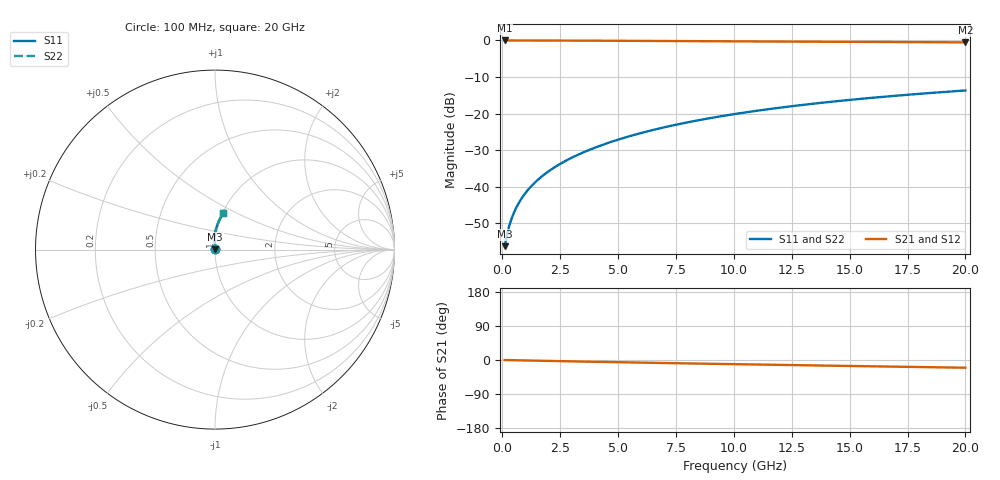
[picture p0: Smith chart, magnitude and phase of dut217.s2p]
! Touchstone file exported from HFSS 2024.1.0
!  File:  C:/UserFiles/LocalFiles/RDL_TSV_Batchsim/temp_RDL_bottom_217_1778700256.aedt
!  Generated:  03:26:55 AM May 14, 2026
!  Design:  RDL_bottom
!  Project:  temp_RDL_bottom_217_1778700256
!  Setup:  Setup1
!  Solution:  Sweep
! Variables:
!  dtsv = 10.80580581um
!  hbump = 3um
!  htsv = 92.17um
!  ldown = 250.03um
!  lrdl = 100um
!  p = 40
!  p1 = 59.63um
!  rhole = 1um
!  t = 450um
!  tdown = 3.1um
!  trdl = 3.915915916um
!  wdown = 29.73um
!  wrdl = 20um
# GHz S MA R 50.000000
! Terminal data exported
! Port[1] = RDL1_T1
! Port[2] = RDL1_T2
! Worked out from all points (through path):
!   200 points, 100 MHz to 20 GHz, reference 50 ohm
!   highest |S21| = -0.01 dB at 100 MHz (marker M1); lowest = -0.5 dB at 20 GHz (marker M2)
!   group delay of S21, straight-line fit = 2.79 ps
!   lowest |S11| = -56.2 dB at 100 MHz (marker M3), VSWR 1.00, Z = 50.1 + j0.0902 ohm
!   |S11| at or under -10 dB: start of sweep to end of sweep
!   |S22| runs from -56.2 to -13.7 dB; largest |S21 - S12| = 2e-15
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0.1  0.001544 35.6  0.9987 -0.1  0.9987 -0.1  0.001544 35.6
! Gamma 0 0 0 0
! Port Impedance 50 0 50 0
0.2  0.002199 53.2  0.9987 -0.3  0.9987 -0.3  0.002199 53.2
0.3  0.002926 61.9  0.9986 -0.4  0.9986 -0.4  0.002926 61.9
0.4  0.003664 67.2  0.9985 -0.5  0.9985 -0.5  0.003664 67.2
0.5  0.004407 70.9  0.9984 -0.6  0.9984 -0.6  0.004407 70.9
0.6  0.005155 73.7  0.9983 -0.7  0.9983 -0.7  0.005155 73.7
0.8  0.006672 77.7  0.9981 -1.0  0.9981 -1.0  0.006672 77.7
1.1  0.009 81.6  0.9978 -1.4  0.9978 -1.4  0.009 81.6
1.3  0.01058 83.4  0.9975 -1.6  0.9975 -1.6  0.01058 83.4
1.6  0.013 85.4  0.9971 -2.0  0.9971 -2.0  0.013 85.4
2.1  0.01714 87.8  0.9962 -2.6  0.9962 -2.6  0.01714 87.8
2.7  0.0223 89.6  0.9949 -3.3  0.9949 -3.3  0.0223 89.6
3.5  0.02952 91.2  0.9928 -4.2  0.9928 -4.2  0.02952 91.2
4.2  0.03615 91.9  0.9908 -5.0  0.9908 -5.0  0.03615 91.9
5  0.04407 92.3  0.9882 -5.9  0.9882 -5.9  0.04407 92.3
5.9  0.05333 92.2  0.9852 -6.8  0.9852 -6.8  0.05333 92.2
6.8  0.0629 91.8  0.9821 -7.8  0.9821 -7.8  0.0629 91.8
8.4  0.08042 90.6  0.9767 -9.4  0.9767 -9.4  0.08042 90.6
10.1  0.09939 88.8  0.9711 -11.1  0.9711 -11.1  0.09939 88.8
13.4  0.1363 84.9  0.9607 -14.3  0.9607 -14.3  0.1363 84.9
16.7  0.1723 80.9  0.9508 -17.4  0.9508 -17.4  0.1723 80.9
20  0.2071 77.1  0.9407 -20.4  0.9407 -20.4  0.2071 77.1
